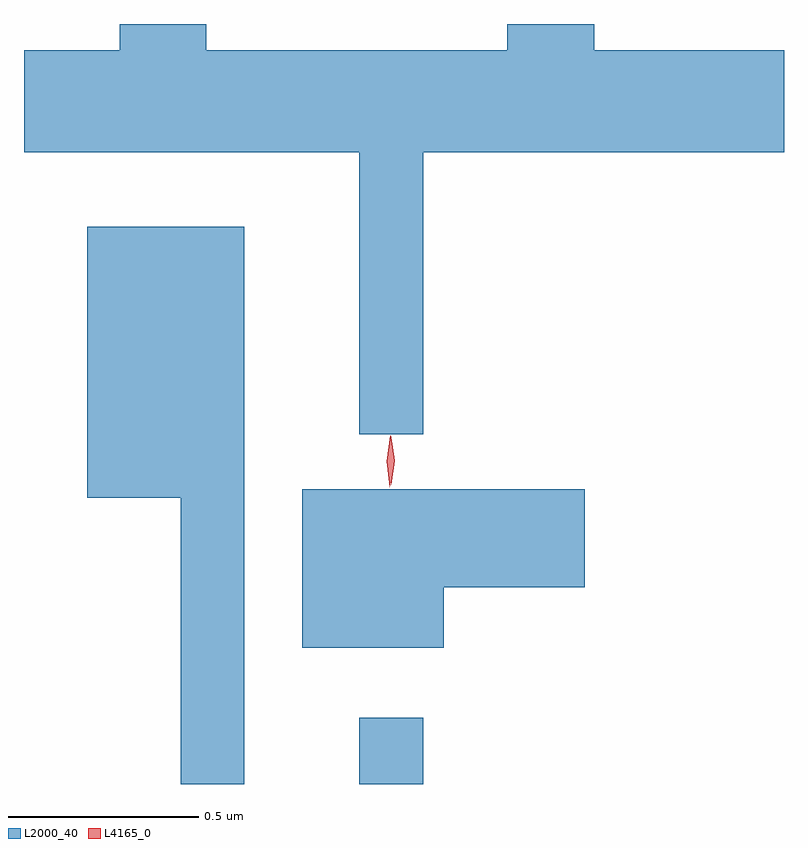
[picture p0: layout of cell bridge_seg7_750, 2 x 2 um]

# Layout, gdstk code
import gdstk
lib = gdstk.Library(unit=1e-6, precision=1e-09)
def R(c, l, rs):  # rectangles x0, y0, x1, y1
    for r in rs: c.add(gdstk.rectangle(r[:2], r[2:], *l))
def P(c, l, *ps):  # polygons
    for p in ps: c.add(gdstk.Polygon(p, *l))
L2000_40 = (2000, 40)
L4165_0 = (4165, 0)

bridge_seg7_750 = lib.new_cell('bridge_seg7_750')
R(bridge_seg7_750, L2000_40, [(563.811,1792.573,563.979,1792.748)])
P(bridge_seg7_750, L2000_40, [(563.979,1794.236),(564.929,1794.236),(564.929,1794.504),(564.429,1794.504),(564.429,1794.573),(564.201,1794.573),(564.201,1794.504),(563.409,1794.504),(563.409,1794.573),(563.181,1794.573),(563.181,1794.504),(562.929,1794.504),(562.929,1794.236),(563.811,1794.236),(563.811,1793.493),(563.979,1793.493)],
  [(563.509,1794.039),(563.096,1794.039),(563.096,1793.326),(563.341,1793.326),(563.341,1792.573),(563.509,1792.573)],
  [(564.034,1793.091),(564.404,1793.091),(564.404,1793.349),(563.661,1793.349),(563.661,1792.931),(564.034,1792.931)])
P(bridge_seg7_750, L4165_0, [(563.895,1793.36),(563.885,1793.424),(563.895,1793.486),(563.895,1793.487),(563.896,1793.486),(563.905,1793.424),(563.896,1793.36),(563.896,1793.36)],
  [(563.891,1793.354),(563.883,1793.422),(563.893,1793.49),(563.894,1793.49),(563.894,1793.49),(563.902,1793.422),(563.892,1793.354),(563.892,1793.354)])

lib.write_gds('bridge_seg7_750.gds')
